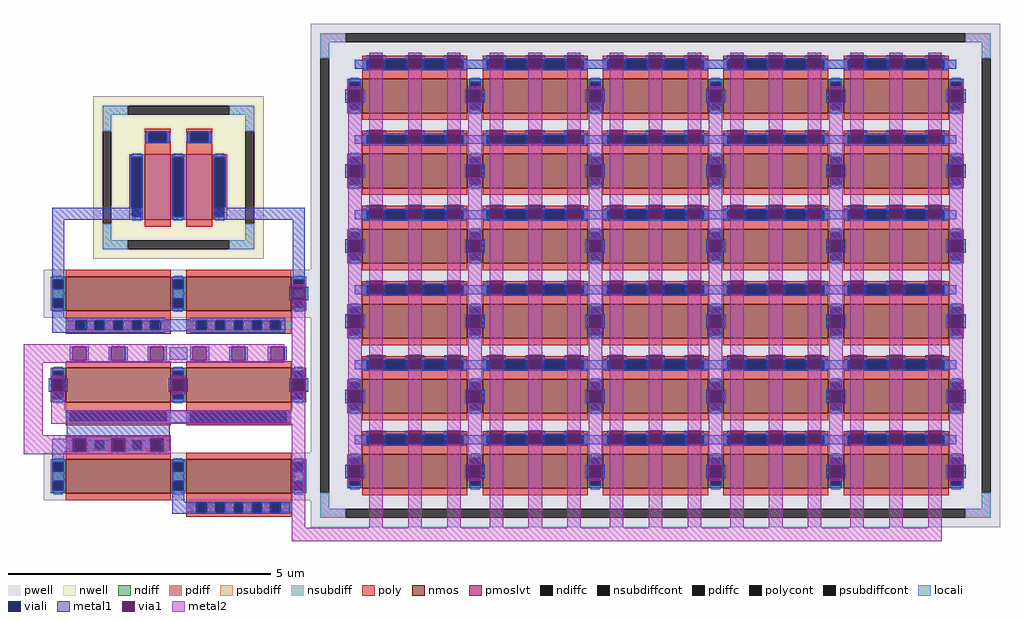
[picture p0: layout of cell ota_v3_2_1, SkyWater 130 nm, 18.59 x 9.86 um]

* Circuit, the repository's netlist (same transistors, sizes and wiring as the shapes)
* NGSPICE file created from ota_v3_2_1.ext - technology: sky130A

.subckt sky130_fd_pr__nfet_01v8_YCG9D7 D0 G0 S1 a_29_n153# VSUBS
X0 S1 G0 D0 VSUBS sky130_fd_pr__nfet_01v8 ad=0.09425 pd=0.94 as=0.1885 ps=1.88 w=0.65 l=2
X1 a_429_n65# a_29_n153# S1 VSUBS sky130_fd_pr__nfet_01v8 ad=0.1885 pd=1.88 as=0.09425 ps=0.94 w=0.65 l=2
.ends

.subckt sky130_fd_pr__nfet_01v8_NJGPHB D0 G0 S1 G1 a_429_n34# VSUBS
X0 a_429_n34# G1 S1 VSUBS sky130_fd_pr__nfet_01v8 ad=0.1885 pd=1.88 as=0.09425 ps=0.94 w=0.65 l=2
X1 S1 G0 D0 VSUBS sky130_fd_pr__nfet_01v8 ad=0.09425 pd=0.94 as=0.1885 ps=1.88 w=0.65 l=2
.ends

.subckt sky130_fd_pr__nfet_01v8_BTD5D5 D0 G0 S1 G1 a_429_n65# VSUBS
X0 S1 G0 D0 VSUBS sky130_fd_pr__nfet_01v8 ad=0.09425 pd=0.94 as=0.1885 ps=1.88 w=0.65 l=2
X1 a_429_n65# G1 S1 VSUBS sky130_fd_pr__nfet_01v8 ad=0.1885 pd=1.88 as=0.09425 ps=0.94 w=0.65 l=2
.ends

.subckt sky130_fd_pr__nfet_01v8_K8R7AN B D0_0 G0 D0_1 G1 D0_2 G2 D0_3 G3 D0_4 G4 D0_5
+ G5 S1_0 S1_1 S1_2 S1_3 S1_4 S1_5 D2_0 D2_1 D2_2 D2_3 D2_4 D2_5 S3_0 S3_1 S3_2 S3_3
+ S3_4 S3_5 D4_0 S4_0 D4_1 S4_1 D4_2 S4_2 D4_3 S4_3 D4_4 S4_4 D4_5 S4_5
X0 D2_5 G5 S1_5 B sky130_fd_pr__nfet_01v8 ad=0.09425 pd=0.94 as=0.09425 ps=0.94 w=0.65 l=2
X1 D2_2 G2 S1_2 B sky130_fd_pr__nfet_01v8 ad=0.09425 pd=0.94 as=0.09425 ps=0.94 w=0.65 l=2
X2 D2_1 G1 S1_1 B sky130_fd_pr__nfet_01v8 ad=0.09425 pd=0.94 as=0.09425 ps=0.94 w=0.65 l=2
X3 S1_5 G5 D0_5 B sky130_fd_pr__nfet_01v8 ad=0.09425 pd=0.94 as=0.1885 ps=1.88 w=0.65 l=2
X4 S3_4 G4 D2_4 B sky130_fd_pr__nfet_01v8 ad=0.09425 pd=0.94 as=0.09425 ps=0.94 w=0.65 l=2
X5 D2_0 G0 S1_0 B sky130_fd_pr__nfet_01v8 ad=0.09425 pd=0.94 as=0.09425 ps=0.94 w=0.65 l=2
X6 D2_4 G4 S1_4 B sky130_fd_pr__nfet_01v8 ad=0.09425 pd=0.94 as=0.09425 ps=0.94 w=0.65 l=2
X7 S3_3 G3 D2_3 B sky130_fd_pr__nfet_01v8 ad=0.09425 pd=0.94 as=0.09425 ps=0.94 w=0.65 l=2
X8 D4_5 G5 S3_5 B sky130_fd_pr__nfet_01v8 ad=0.09425 pd=0.94 as=0.09425 ps=0.94 w=0.65 l=2
X9 S4_2 G2 D4_2 B sky130_fd_pr__nfet_01v8 ad=0.1885 pd=1.88 as=0.09425 ps=0.94 w=0.65 l=2
X10 S1_4 G4 D0_4 B sky130_fd_pr__nfet_01v8 ad=0.09425 pd=0.94 as=0.1885 ps=1.88 w=0.65 l=2
X11 D2_3 G3 S1_3 B sky130_fd_pr__nfet_01v8 ad=0.09425 pd=0.94 as=0.09425 ps=0.94 w=0.65 l=2
X12 S4_1 G1 D4_1 B sky130_fd_pr__nfet_01v8 ad=0.1885 pd=1.88 as=0.09425 ps=0.94 w=0.65 l=2
X13 S4_0 G0 D4_0 B sky130_fd_pr__nfet_01v8 ad=0.1885 pd=1.88 as=0.09425 ps=0.94 w=0.65 l=2
X14 S4_5 G5 D4_5 B sky130_fd_pr__nfet_01v8 ad=0.1885 pd=1.88 as=0.09425 ps=0.94 w=0.65 l=2
X15 S3_2 G2 D2_2 B sky130_fd_pr__nfet_01v8 ad=0.09425 pd=0.94 as=0.09425 ps=0.94 w=0.65 l=2
X16 D4_4 G4 S3_4 B sky130_fd_pr__nfet_01v8 ad=0.09425 pd=0.94 as=0.09425 ps=0.94 w=0.65 l=2
X17 S1_2 G2 D0_2 B sky130_fd_pr__nfet_01v8 ad=0.09425 pd=0.94 as=0.1885 ps=1.88 w=0.65 l=2
X18 S3_1 G1 D2_1 B sky130_fd_pr__nfet_01v8 ad=0.09425 pd=0.94 as=0.09425 ps=0.94 w=0.65 l=2
X19 S3_0 G0 D2_0 B sky130_fd_pr__nfet_01v8 ad=0.09425 pd=0.94 as=0.09425 ps=0.94 w=0.65 l=2
X20 S1_1 G1 D0_1 B sky130_fd_pr__nfet_01v8 ad=0.09425 pd=0.94 as=0.1885 ps=1.88 w=0.65 l=2
X21 S1_0 G0 D0_0 B sky130_fd_pr__nfet_01v8 ad=0.09425 pd=0.94 as=0.1885 ps=1.88 w=0.65 l=2
X22 S4_4 G4 D4_4 B sky130_fd_pr__nfet_01v8 ad=0.1885 pd=1.88 as=0.09425 ps=0.94 w=0.65 l=2
X23 S3_5 G5 D2_5 B sky130_fd_pr__nfet_01v8 ad=0.09425 pd=0.94 as=0.09425 ps=0.94 w=0.65 l=2
X24 D4_3 G3 S3_3 B sky130_fd_pr__nfet_01v8 ad=0.09425 pd=0.94 as=0.09425 ps=0.94 w=0.65 l=2
X25 S1_3 G3 D0_3 B sky130_fd_pr__nfet_01v8 ad=0.09425 pd=0.94 as=0.1885 ps=1.88 w=0.65 l=2
X26 D4_2 G2 S3_2 B sky130_fd_pr__nfet_01v8 ad=0.09425 pd=0.94 as=0.09425 ps=0.94 w=0.65 l=2
X27 D4_1 G1 S3_1 B sky130_fd_pr__nfet_01v8 ad=0.09425 pd=0.94 as=0.09425 ps=0.94 w=0.65 l=2
X28 S4_3 G3 D4_3 B sky130_fd_pr__nfet_01v8 ad=0.1885 pd=1.88 as=0.09425 ps=0.94 w=0.65 l=2
X29 D4_0 G0 S3_0 B sky130_fd_pr__nfet_01v8 ad=0.09425 pd=0.94 as=0.09425 ps=0.94 w=0.65 l=2
.ends

.subckt sky130_fd_pr__pfet_01v8_lvt_YE4XRW B D0 G0 S1 G1 a_129_n161#
X0 a_129_n161# G1 S1 B sky130_fd_pr__pfet_01v8_lvt ad=0.3625 pd=3.08 as=0.18125 ps=1.54 w=1.25 l=0.5
X1 S1 G0 D0 B sky130_fd_pr__pfet_01v8_lvt ad=0.18125 pd=1.54 as=0.3625 ps=3.08 w=1.25 l=0.5
.ends

.subckt ota_v3_2_1
Xsky130_fd_pr__nfet_01v8_YCG9D7_0 sky130_fd_pr__nfet_01v8_YCG9D7_0/G0 sky130_fd_pr__nfet_01v8_YCG9D7_0/G0
+ sky130_fd_pr__nfet_01v8_YCG9D7_0/S1 sky130_fd_pr__nfet_01v8_YCG9D7_0/S1 VSUBS sky130_fd_pr__nfet_01v8_YCG9D7
Xsky130_fd_pr__nfet_01v8_NJGPHB_0 sky130_fd_pr__nfet_01v8_NJGPHB_0/G1 sky130_fd_pr__nfet_01v8_NJGPHB_0/G1
+ sky130_fd_pr__nfet_01v8_NJGPHB_0/S1 sky130_fd_pr__nfet_01v8_NJGPHB_0/G1 sky130_fd_pr__nfet_01v8_K8R7AN_0/G5
+ VSUBS sky130_fd_pr__nfet_01v8_NJGPHB
Xsky130_fd_pr__nfet_01v8_BTD5D5_0 sky130_fd_pr__nfet_01v8_K8R7AN_0/G5 sky130_fd_pr__nfet_01v8_YCG9D7_0/G0
+ sky130_fd_pr__nfet_01v8_BTD5D5_0/S1 sky130_fd_pr__nfet_01v8_YCG9D7_0/G0 sky130_fd_pr__nfet_01v8_K8R7AN_0/G5
+ VSUBS sky130_fd_pr__nfet_01v8_BTD5D5
Xsky130_fd_pr__nfet_01v8_K8R7AN_0 VSUBS sky130_fd_pr__nfet_01v8_K8R7AN_0/D0_5 sky130_fd_pr__nfet_01v8_K8R7AN_0/G5
+ sky130_fd_pr__nfet_01v8_K8R7AN_0/D0_5 sky130_fd_pr__nfet_01v8_K8R7AN_0/G5 sky130_fd_pr__nfet_01v8_K8R7AN_0/D0_5
+ sky130_fd_pr__nfet_01v8_K8R7AN_0/G5 sky130_fd_pr__nfet_01v8_K8R7AN_0/D0_5 sky130_fd_pr__nfet_01v8_K8R7AN_0/G5
+ sky130_fd_pr__nfet_01v8_K8R7AN_0/D0_5 sky130_fd_pr__nfet_01v8_K8R7AN_0/G5 sky130_fd_pr__nfet_01v8_K8R7AN_0/D0_5
+ sky130_fd_pr__nfet_01v8_K8R7AN_0/G5 sky130_fd_pr__nfet_01v8_K8R7AN_0/S1_5 sky130_fd_pr__nfet_01v8_K8R7AN_0/S1_5
+ sky130_fd_pr__nfet_01v8_K8R7AN_0/S1_5 sky130_fd_pr__nfet_01v8_K8R7AN_0/S1_5 sky130_fd_pr__nfet_01v8_K8R7AN_0/S1_5
+ sky130_fd_pr__nfet_01v8_K8R7AN_0/S1_5 sky130_fd_pr__nfet_01v8_K8R7AN_0/D2_5 sky130_fd_pr__nfet_01v8_K8R7AN_0/D2_5
+ sky130_fd_pr__nfet_01v8_K8R7AN_0/D2_5 sky130_fd_pr__nfet_01v8_K8R7AN_0/D2_5 sky130_fd_pr__nfet_01v8_K8R7AN_0/D2_5
+ sky130_fd_pr__nfet_01v8_K8R7AN_0/D2_5 sky130_fd_pr__nfet_01v8_K8R7AN_0/S3_5 sky130_fd_pr__nfet_01v8_K8R7AN_0/S3_5
+ sky130_fd_pr__nfet_01v8_K8R7AN_0/S3_5 sky130_fd_pr__nfet_01v8_K8R7AN_0/S3_5 sky130_fd_pr__nfet_01v8_K8R7AN_0/S3_5
+ sky130_fd_pr__nfet_01v8_K8R7AN_0/S3_5 sky130_fd_pr__nfet_01v8_K8R7AN_0/D4_5 sky130_fd_pr__nfet_01v8_K8R7AN_0/S4_5
+ sky130_fd_pr__nfet_01v8_K8R7AN_0/D4_5 sky130_fd_pr__nfet_01v8_K8R7AN_0/S4_5 sky130_fd_pr__nfet_01v8_K8R7AN_0/D4_5
+ sky130_fd_pr__nfet_01v8_K8R7AN_0/S4_5 sky130_fd_pr__nfet_01v8_K8R7AN_0/D4_5 sky130_fd_pr__nfet_01v8_K8R7AN_0/S4_5
+ sky130_fd_pr__nfet_01v8_K8R7AN_0/D4_5 sky130_fd_pr__nfet_01v8_K8R7AN_0/S4_5 sky130_fd_pr__nfet_01v8_K8R7AN_0/D4_5
+ sky130_fd_pr__nfet_01v8_K8R7AN_0/S4_5 sky130_fd_pr__nfet_01v8_K8R7AN
Xsky130_fd_pr__pfet_01v8_lvt_YE4XRW_0 sky130_fd_pr__pfet_01v8_lvt_YE4XRW_0/B sky130_fd_pr__nfet_01v8_NJGPHB_0/G1
+ sky130_fd_pr__pfet_01v8_lvt_YE4XRW_0/G0 sky130_fd_pr__pfet_01v8_lvt_YE4XRW_0/S1
+ sky130_fd_pr__pfet_01v8_lvt_YE4XRW_0/G1 sky130_fd_pr__nfet_01v8_K8R7AN_0/G5 sky130_fd_pr__pfet_01v8_lvt_YE4XRW
.ends

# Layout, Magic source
magic
tech sky130A
magscale 1 2
<< metal1 >>
rect 1316 688 1326 740
rect 1378 688 1388 740
rect 1464 688 1474 740
rect 1526 688 1536 740
rect 1612 688 1622 740
rect 1674 688 1684 740
rect 1774 688 1784 740
rect 1836 688 1846 740
rect 1922 688 1932 740
rect 1984 688 1994 740
rect 2070 688 2080 740
rect 2132 688 2142 740
rect 2232 688 2242 740
rect 2294 688 2304 740
rect 2380 688 2390 740
rect 2442 688 2452 740
rect 2528 688 2538 740
rect 2590 688 2600 740
rect 2690 688 2700 740
rect 2752 688 2762 740
rect 2838 688 2848 740
rect 2900 688 2910 740
rect 2986 688 2996 740
rect 3048 688 3058 740
rect 3148 688 3158 740
rect 3210 688 3220 740
rect 3296 688 3306 740
rect 3358 688 3368 740
rect 3444 688 3454 740
rect 3506 688 3516 740
rect 1235 559 1245 611
rect 1297 559 1307 611
rect 1693 559 1703 611
rect 1755 559 1765 611
rect 2151 559 2161 611
rect 2213 559 2223 611
rect 2609 559 2619 611
rect 2671 559 2681 611
rect 3067 559 3077 611
rect 3129 559 3139 611
rect 3525 559 3535 611
rect 3587 559 3597 611
rect 1316 402 1326 454
rect 1378 402 1388 454
rect 1464 402 1474 454
rect 1526 402 1536 454
rect 1612 402 1622 454
rect 1674 402 1684 454
rect 1774 402 1784 454
rect 1836 402 1846 454
rect 1922 402 1932 454
rect 1984 402 1994 454
rect 2070 402 2080 454
rect 2132 402 2142 454
rect 2232 402 2242 454
rect 2294 402 2304 454
rect 2380 402 2390 454
rect 2442 402 2452 454
rect 2528 402 2538 454
rect 2590 402 2600 454
rect 2690 402 2700 454
rect 2752 402 2762 454
rect 2838 402 2848 454
rect 2900 402 2910 454
rect 2986 402 2996 454
rect 3048 402 3058 454
rect 3148 402 3158 454
rect 3210 402 3220 454
rect 3296 402 3306 454
rect 3358 402 3368 454
rect 3444 402 3454 454
rect 3506 402 3516 454
rect 1235 273 1245 325
rect 1297 273 1307 325
rect 1693 273 1703 325
rect 1755 273 1765 325
rect 2151 273 2161 325
rect 2213 273 2223 325
rect 2609 273 2619 325
rect 2671 273 2681 325
rect 3067 273 3077 325
rect 3129 273 3139 325
rect 3525 273 3535 325
rect 3587 273 3597 325
rect 118 113 464 159
rect 734 113 1080 159
rect 1316 116 1326 168
rect 1378 116 1388 168
rect 1464 116 1474 168
rect 1526 116 1536 168
rect 1612 116 1622 168
rect 1674 116 1684 168
rect 1774 116 1784 168
rect 1836 116 1846 168
rect 1922 116 1932 168
rect 1984 116 1994 168
rect 2070 116 2080 168
rect 2132 116 2142 168
rect 2232 116 2242 168
rect 2294 116 2304 168
rect 2380 116 2390 168
rect 2442 116 2452 168
rect 2528 116 2538 168
rect 2590 116 2600 168
rect 2690 116 2700 168
rect 2752 116 2762 168
rect 2838 116 2848 168
rect 2900 116 2910 168
rect 2986 116 2996 168
rect 3048 116 3058 168
rect 3148 116 3158 168
rect 3210 116 3220 168
rect 3296 116 3306 168
rect 3358 116 3368 168
rect 3444 116 3454 168
rect 3506 116 3516 168
rect 118 -103 164 113
rect 1034 -103 1080 113
rect 1235 -13 1245 39
rect 1297 -13 1307 39
rect 1693 -13 1703 39
rect 1755 -13 1765 39
rect 2151 -13 2161 39
rect 2213 -13 2223 39
rect 2609 -13 2619 39
rect 2671 -13 2681 39
rect 3067 -13 3077 39
rect 3129 -13 3139 39
rect 3525 -13 3535 39
rect 3587 -13 3597 39
rect 1021 -194 1031 -142
rect 1083 -194 1093 -142
rect 1316 -170 1326 -118
rect 1378 -170 1388 -118
rect 1464 -170 1474 -118
rect 1526 -170 1536 -118
rect 1612 -170 1622 -118
rect 1674 -170 1684 -118
rect 1774 -170 1784 -118
rect 1836 -170 1846 -118
rect 1922 -170 1932 -118
rect 1984 -170 1994 -118
rect 2070 -170 2080 -118
rect 2132 -170 2142 -118
rect 2232 -170 2242 -118
rect 2294 -170 2304 -118
rect 2380 -170 2390 -118
rect 2442 -170 2452 -118
rect 2528 -170 2538 -118
rect 2590 -170 2600 -118
rect 2690 -170 2700 -118
rect 2752 -170 2762 -118
rect 2838 -170 2848 -118
rect 2900 -170 2910 -118
rect 2986 -170 2996 -118
rect 3048 -170 3058 -118
rect 3148 -170 3158 -118
rect 3210 -170 3220 -118
rect 3296 -170 3306 -118
rect 3358 -170 3368 -118
rect 3444 -170 3454 -118
rect 3506 -170 3516 -118
rect 118 -265 164 -233
rect 118 -311 209 -265
rect 566 -311 657 -265
rect 1235 -299 1245 -247
rect 1297 -299 1307 -247
rect 1693 -299 1703 -247
rect 1755 -299 1765 -247
rect 2151 -299 2161 -247
rect 2213 -299 2223 -247
rect 2609 -299 2619 -247
rect 2671 -299 2681 -247
rect 3067 -299 3077 -247
rect 3129 -299 3139 -247
rect 3525 -299 3535 -247
rect 3587 -299 3597 -247
rect 186 -422 196 -370
rect 248 -422 258 -370
rect 334 -422 344 -370
rect 396 -422 406 -370
rect 482 -422 492 -370
rect 544 -422 554 -370
rect 566 -419 633 -373
rect 644 -422 654 -370
rect 706 -422 716 -370
rect 792 -422 802 -370
rect 854 -422 864 -370
rect 940 -422 950 -370
rect 1002 -422 1012 -370
rect 1316 -455 1326 -403
rect 1378 -455 1388 -403
rect 1464 -455 1474 -403
rect 1526 -455 1536 -403
rect 1612 -455 1622 -403
rect 1674 -455 1684 -403
rect 1774 -455 1784 -403
rect 1836 -455 1846 -403
rect 1922 -455 1932 -403
rect 1984 -455 1994 -403
rect 2070 -455 2080 -403
rect 2132 -455 2142 -403
rect 2232 -455 2242 -403
rect 2294 -455 2304 -403
rect 2380 -455 2390 -403
rect 2442 -455 2452 -403
rect 2528 -455 2538 -403
rect 2590 -455 2600 -403
rect 2690 -455 2700 -403
rect 2752 -455 2762 -403
rect 2838 -455 2848 -403
rect 2900 -455 2910 -403
rect 2986 -455 2996 -403
rect 3048 -455 3058 -403
rect 3148 -455 3158 -403
rect 3210 -455 3220 -403
rect 3296 -455 3306 -403
rect 3358 -455 3368 -403
rect 3444 -455 3454 -403
rect 3506 -455 3516 -403
rect 105 -542 115 -490
rect 167 -542 177 -490
rect 563 -542 573 -490
rect 625 -542 635 -490
rect 1021 -542 1031 -490
rect 1083 -542 1093 -490
rect 576 -551 622 -547
rect 1235 -585 1245 -533
rect 1297 -585 1307 -533
rect 1693 -585 1703 -533
rect 1755 -585 1765 -533
rect 2151 -585 2161 -533
rect 2213 -585 2223 -533
rect 2609 -585 2619 -533
rect 2671 -585 2681 -533
rect 3067 -585 3077 -533
rect 3129 -585 3139 -533
rect 3525 -585 3535 -533
rect 3587 -585 3597 -533
rect 566 -658 633 -613
rect 174 -659 633 -658
rect 174 -718 566 -659
rect 174 -721 196 -718
rect 118 -770 196 -721
rect 248 -721 344 -718
rect 248 -770 258 -721
rect 334 -770 344 -721
rect 396 -721 492 -718
rect 396 -770 406 -721
rect 482 -770 492 -721
rect 544 -721 566 -718
rect 544 -770 554 -721
rect 1316 -742 1326 -690
rect 1378 -742 1388 -690
rect 1464 -742 1474 -690
rect 1526 -742 1536 -690
rect 1612 -742 1622 -690
rect 1674 -742 1684 -690
rect 1774 -742 1784 -690
rect 1836 -742 1846 -690
rect 1922 -742 1932 -690
rect 1984 -742 1994 -690
rect 2070 -742 2080 -690
rect 2132 -742 2142 -690
rect 2232 -742 2242 -690
rect 2294 -742 2304 -690
rect 2380 -742 2390 -690
rect 2442 -742 2452 -690
rect 2528 -742 2538 -690
rect 2590 -742 2600 -690
rect 2690 -742 2700 -690
rect 2752 -742 2762 -690
rect 2838 -742 2848 -690
rect 2900 -742 2910 -690
rect 2986 -742 2996 -690
rect 3048 -742 3058 -690
rect 3148 -742 3158 -690
rect 3210 -742 3220 -690
rect 3296 -742 3306 -690
rect 3358 -742 3368 -690
rect 3444 -742 3454 -690
rect 3506 -742 3516 -690
rect 118 -799 164 -770
rect 1235 -871 1245 -819
rect 1297 -871 1307 -819
rect 1693 -871 1703 -819
rect 1755 -871 1765 -819
rect 2151 -871 2161 -819
rect 2213 -871 2223 -819
rect 2609 -871 2619 -819
rect 2671 -871 2681 -819
rect 3067 -871 3077 -819
rect 3129 -871 3139 -819
rect 3525 -871 3535 -819
rect 3587 -871 3597 -819
rect 576 -961 622 -928
rect 576 -1007 656 -961
<< via1 >>
rect 1326 688 1378 740
rect 1474 688 1526 740
rect 1622 688 1674 740
rect 1784 688 1836 740
rect 1932 688 1984 740
rect 2080 688 2132 740
rect 2242 688 2294 740
rect 2390 688 2442 740
rect 2538 688 2590 740
rect 2700 688 2752 740
rect 2848 688 2900 740
rect 2996 688 3048 740
rect 3158 688 3210 740
rect 3306 688 3358 740
rect 3454 688 3506 740
rect 1245 559 1297 611
rect 1703 559 1755 611
rect 2161 559 2213 611
rect 2619 559 2671 611
rect 3077 559 3129 611
rect 3535 559 3587 611
rect 1326 402 1378 454
rect 1474 402 1526 454
rect 1622 402 1674 454
rect 1784 402 1836 454
rect 1932 402 1984 454
rect 2080 402 2132 454
rect 2242 402 2294 454
rect 2390 402 2442 454
rect 2538 402 2590 454
rect 2700 402 2752 454
rect 2848 402 2900 454
rect 2996 402 3048 454
rect 3158 402 3210 454
rect 3306 402 3358 454
rect 3454 402 3506 454
rect 1245 273 1297 325
rect 1703 273 1755 325
rect 2161 273 2213 325
rect 2619 273 2671 325
rect 3077 273 3129 325
rect 3535 273 3587 325
rect 1326 116 1378 168
rect 1474 116 1526 168
rect 1622 116 1674 168
rect 1784 116 1836 168
rect 1932 116 1984 168
rect 2080 116 2132 168
rect 2242 116 2294 168
rect 2390 116 2442 168
rect 2538 116 2590 168
rect 2700 116 2752 168
rect 2848 116 2900 168
rect 2996 116 3048 168
rect 3158 116 3210 168
rect 3306 116 3358 168
rect 3454 116 3506 168
rect 1245 -13 1297 39
rect 1703 -13 1755 39
rect 2161 -13 2213 39
rect 2619 -13 2671 39
rect 3077 -13 3129 39
rect 3535 -13 3587 39
rect 1031 -194 1083 -142
rect 1326 -170 1378 -118
rect 1474 -170 1526 -118
rect 1622 -170 1674 -118
rect 1784 -170 1836 -118
rect 1932 -170 1984 -118
rect 2080 -170 2132 -118
rect 2242 -170 2294 -118
rect 2390 -170 2442 -118
rect 2538 -170 2590 -118
rect 2700 -170 2752 -118
rect 2848 -170 2900 -118
rect 2996 -170 3048 -118
rect 3158 -170 3210 -118
rect 3306 -170 3358 -118
rect 3454 -170 3506 -118
rect 1245 -299 1297 -247
rect 1703 -299 1755 -247
rect 2161 -299 2213 -247
rect 2619 -299 2671 -247
rect 3077 -299 3129 -247
rect 3535 -299 3587 -247
rect 196 -422 248 -370
rect 344 -422 396 -370
rect 492 -422 544 -370
rect 654 -422 706 -370
rect 802 -422 854 -370
rect 950 -422 1002 -370
rect 1326 -455 1378 -403
rect 1474 -455 1526 -403
rect 1622 -455 1674 -403
rect 1784 -455 1836 -403
rect 1932 -455 1984 -403
rect 2080 -455 2132 -403
rect 2242 -455 2294 -403
rect 2390 -455 2442 -403
rect 2538 -455 2590 -403
rect 2700 -455 2752 -403
rect 2848 -455 2900 -403
rect 2996 -455 3048 -403
rect 3158 -455 3210 -403
rect 3306 -455 3358 -403
rect 3454 -455 3506 -403
rect 115 -542 167 -490
rect 573 -542 625 -490
rect 1031 -542 1083 -490
rect 1245 -585 1297 -533
rect 1703 -585 1755 -533
rect 2161 -585 2213 -533
rect 2619 -585 2671 -533
rect 3077 -585 3129 -533
rect 3535 -585 3587 -533
rect 196 -770 248 -718
rect 344 -770 396 -718
rect 492 -770 544 -718
rect 1326 -742 1378 -690
rect 1474 -742 1526 -690
rect 1622 -742 1674 -690
rect 1784 -742 1836 -690
rect 1932 -742 1984 -690
rect 2080 -742 2132 -690
rect 2242 -742 2294 -690
rect 2390 -742 2442 -690
rect 2538 -742 2590 -690
rect 2700 -742 2752 -690
rect 2848 -742 2900 -690
rect 2996 -742 3048 -690
rect 3158 -742 3210 -690
rect 3306 -742 3358 -690
rect 3454 -742 3506 -690
rect 1245 -871 1297 -819
rect 1703 -871 1755 -819
rect 2161 -871 2213 -819
rect 2619 -871 2671 -819
rect 3077 -871 3129 -819
rect 3535 -871 3587 -819
<< metal2 >>
rect 1326 740 1378 750
rect 1245 611 1297 621
rect 1245 325 1297 559
rect 1245 39 1297 273
rect 1031 -142 1083 -132
rect 11 -370 1002 -360
rect 11 -422 196 -370
rect 248 -422 344 -370
rect 396 -422 492 -370
rect 544 -422 654 -370
rect 706 -422 802 -370
rect 854 -422 950 -370
rect 11 -432 1002 -422
rect 11 -708 83 -432
rect 115 -490 167 -480
rect 115 -612 167 -542
rect 573 -490 625 -480
rect 573 -552 625 -542
rect 1031 -490 1083 -194
rect 1031 -612 1083 -542
rect 115 -664 1083 -612
rect 11 -718 570 -708
rect 11 -770 196 -718
rect 248 -770 344 -718
rect 396 -770 492 -718
rect 544 -770 570 -718
rect 11 -780 570 -770
rect 1031 -1059 1083 -664
rect 1245 -247 1297 -13
rect 1245 -533 1297 -299
rect 1245 -819 1297 -585
rect 1245 -881 1297 -871
rect 1326 454 1378 688
rect 1326 168 1378 402
rect 1326 -118 1378 116
rect 1326 -403 1378 -170
rect 1326 -690 1378 -455
rect 1326 -1059 1378 -742
rect 1474 740 1526 750
rect 1474 454 1526 688
rect 1474 168 1526 402
rect 1474 -118 1526 116
rect 1474 -403 1526 -170
rect 1474 -690 1526 -455
rect 1474 -1059 1526 -742
rect 1622 740 1674 750
rect 1622 454 1674 688
rect 1784 740 1836 750
rect 1622 168 1674 402
rect 1622 -118 1674 116
rect 1622 -403 1674 -170
rect 1622 -690 1674 -455
rect 1622 -1059 1674 -742
rect 1703 611 1755 621
rect 1703 325 1755 559
rect 1703 39 1755 273
rect 1703 -247 1755 -13
rect 1703 -533 1755 -299
rect 1703 -819 1755 -585
rect 1703 -881 1755 -871
rect 1784 454 1836 688
rect 1784 168 1836 402
rect 1784 -118 1836 116
rect 1784 -403 1836 -170
rect 1784 -690 1836 -455
rect 1784 -1059 1836 -742
rect 1932 740 1984 750
rect 1932 454 1984 688
rect 1932 168 1984 402
rect 1932 -118 1984 116
rect 1932 -403 1984 -170
rect 1932 -690 1984 -455
rect 1932 -1059 1984 -742
rect 2080 740 2132 750
rect 2080 454 2132 688
rect 2242 740 2294 750
rect 2080 168 2132 402
rect 2080 -118 2132 116
rect 2080 -403 2132 -170
rect 2080 -690 2132 -455
rect 2080 -1059 2132 -742
rect 2161 611 2213 621
rect 2161 325 2213 559
rect 2161 39 2213 273
rect 2161 -247 2213 -13
rect 2161 -533 2213 -299
rect 2161 -819 2213 -585
rect 2161 -881 2213 -871
rect 2242 454 2294 688
rect 2242 168 2294 402
rect 2242 -118 2294 116
rect 2242 -403 2294 -170
rect 2242 -690 2294 -455
rect 2242 -1059 2294 -742
rect 2390 740 2442 750
rect 2390 454 2442 688
rect 2390 168 2442 402
rect 2390 -118 2442 116
rect 2390 -403 2442 -170
rect 2390 -690 2442 -455
rect 2390 -1059 2442 -742
rect 2538 740 2590 750
rect 2538 454 2590 688
rect 2700 740 2752 750
rect 2538 168 2590 402
rect 2538 -118 2590 116
rect 2538 -403 2590 -170
rect 2538 -690 2590 -455
rect 2538 -1059 2590 -742
rect 2619 611 2671 621
rect 2619 325 2671 559
rect 2619 39 2671 273
rect 2619 -247 2671 -13
rect 2619 -533 2671 -299
rect 2619 -819 2671 -585
rect 2619 -881 2671 -871
rect 2700 454 2752 688
rect 2700 168 2752 402
rect 2700 -118 2752 116
rect 2700 -403 2752 -170
rect 2700 -690 2752 -455
rect 2700 -1059 2752 -742
rect 2848 740 2900 750
rect 2848 454 2900 688
rect 2848 168 2900 402
rect 2848 -118 2900 116
rect 2848 -403 2900 -170
rect 2848 -690 2900 -455
rect 2848 -1059 2900 -742
rect 2996 740 3048 750
rect 2996 454 3048 688
rect 3158 740 3210 750
rect 2996 168 3048 402
rect 2996 -118 3048 116
rect 2996 -403 3048 -170
rect 2996 -690 3048 -455
rect 2996 -1059 3048 -742
rect 3077 611 3129 621
rect 3077 325 3129 559
rect 3077 39 3129 273
rect 3077 -247 3129 -13
rect 3077 -533 3129 -299
rect 3077 -819 3129 -585
rect 3077 -881 3129 -871
rect 3158 454 3210 688
rect 3158 168 3210 402
rect 3158 -118 3210 116
rect 3158 -403 3210 -170
rect 3158 -690 3210 -455
rect 3158 -1059 3210 -742
rect 3306 740 3358 750
rect 3306 454 3358 688
rect 3306 168 3358 402
rect 3306 -118 3358 116
rect 3306 -403 3358 -170
rect 3306 -690 3358 -455
rect 3306 -1059 3358 -742
rect 3454 740 3506 750
rect 3454 454 3506 688
rect 3454 168 3506 402
rect 3454 -118 3506 116
rect 3454 -403 3506 -170
rect 3454 -690 3506 -455
rect 3454 -1059 3506 -742
rect 3535 611 3587 621
rect 3535 325 3587 559
rect 3535 39 3587 273
rect 3535 -247 3587 -13
rect 3535 -533 3587 -299
rect 3535 -819 3587 -585
rect 3535 -881 3587 -871
rect 1031 -1111 3506 -1059
use sky130_fd_pr__nfet_01v8_BTD5D5  sky130_fd_pr__nfet_01v8_BTD5D5_0
transform 1 0 599 0 1 -516
box -487 -153 487 91
use sky130_fd_pr__nfet_01v8_K8R7AN  sky130_fd_pr__nfet_01v8_K8R7AN_0
transform 1 0 2416 0 1 -99
box -1312 -959 1312 959
use sky130_fd_pr__nfet_01v8_NJGPHB  sky130_fd_pr__nfet_01v8_NJGPHB_0
transform 1 0 599 0 1 -199
box -487 -122 487 122
use sky130_fd_pr__nfet_01v8_YCG9D7  sky130_fd_pr__nfet_01v8_YCG9D7_0
transform 1 0 599 0 1 -864
box -487 -153 487 153
use sky130_fd_pr__pfet_01v8_lvt_YE4XRW  sky130_fd_pr__pfet_01v8_lvt_YE4XRW_0
transform 1 0 599 0 1 274
box -325 -309 325 309
<< end >>

# cell sky130_fd_pr__nfet_01v8_BTD5D5: kit device sky130_fd_pr__nfet_01v8, w .65 l 2 m 1 nf 2 diffcov 100 polycov 100 guard 0 glc 0 grc 0 gtc 0 gbc 0 tbcov 100 rlcov 100 topc 1 botc 1 poverlap 0 doverlap 1 lmin 0.15 wmin 0.42 class mosfet compatible {sky130_fd_pr__nfet_01v8 sky130_fd_pr__nfet_01v8_lvt sky130_fd_bs_flash__special_sonosfet_star sky130_fd_pr__nfet_g5v0d10v5 sky130_fd_pr__nfet_05v0_nvt sky130_fd_pr__nfet_03v3_nvt} full_metal 0 conn_gates 0 viasrc 100 viadrn 100 viagate 100 viagb 0 viagr 0 viagl 0 viagt 0 doports 1

# cell sky130_fd_pr__nfet_01v8_K8R7AN: kit device sky130_fd_pr__nfet_01v8, w .65 l 2 m 6 nf 5 diffcov 100 polycov 100 guard 1 glc 1 grc 1 gtc 1 gbc 1 tbcov 100 rlcov 100 topc 1 botc 0 poverlap 0 doverlap 1 lmin 0.15 wmin 0.42 class mosfet compatible {sky130_fd_pr__nfet_01v8 sky130_fd_pr__nfet_01v8_lvt sky130_fd_bs_flash__special_sonosfet_star sky130_fd_pr__nfet_g5v0d10v5 sky130_fd_pr__nfet_05v0_nvt sky130_fd_pr__nfet_03v3_nvt} full_metal 1 conn_gates 1 viasrc 100 viadrn 100 viagate 100 viagb 0 viagr 0 viagl 0 viagt 0 doports 1

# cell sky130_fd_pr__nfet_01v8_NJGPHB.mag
magic
tech sky130A
magscale 1 2
<< pwell >>
rect -513 -60 513 122
<< nmos >>
rect -429 -34 -29 96
rect 29 -34 429 96
<< ndiff >>
rect -487 82 -429 96
rect -487 48 -475 82
rect -441 48 -429 82
rect -487 14 -429 48
rect -487 -20 -475 14
rect -441 -20 -429 14
rect -487 -34 -429 -20
rect -29 82 29 96
rect -29 48 -17 82
rect 17 48 29 82
rect -29 14 29 48
rect -29 -20 -17 14
rect 17 -20 29 14
rect -29 -34 29 -20
rect 429 82 487 96
rect 429 48 441 82
rect 475 48 487 82
rect 429 14 487 48
rect 429 -20 441 14
rect 475 -20 487 14
rect 429 -34 487 -20
<< ndiffc >>
rect -475 48 -441 82
rect -475 -20 -441 14
rect -17 48 17 82
rect -17 -20 17 14
rect 441 48 475 82
rect 441 -20 475 14
<< poly >>
rect -429 96 -29 122
rect 29 96 429 122
rect -429 -72 -29 -34
rect -429 -106 -382 -72
rect -348 -106 -314 -72
rect -280 -106 -246 -72
rect -212 -106 -178 -72
rect -144 -106 -110 -72
rect -76 -106 -29 -72
rect -429 -122 -29 -106
rect 29 -72 429 -34
rect 29 -106 76 -72
rect 110 -106 144 -72
rect 178 -106 212 -72
rect 246 -106 280 -72
rect 314 -106 348 -72
rect 382 -106 429 -72
rect 29 -122 429 -106
<< polycont >>
rect -382 -106 -348 -72
rect -314 -106 -280 -72
rect -246 -106 -212 -72
rect -178 -106 -144 -72
rect -110 -106 -76 -72
rect 76 -106 110 -72
rect 144 -106 178 -72
rect 212 -106 246 -72
rect 280 -106 314 -72
rect 348 -106 382 -72
<< locali >>
rect -475 84 -441 100
rect -475 14 -441 48
rect -475 -38 -441 -22
rect -17 84 17 100
rect -17 14 17 48
rect -17 -38 17 -22
rect 441 84 475 100
rect 441 14 475 48
rect 441 -38 475 -22
rect -429 -106 -390 -72
rect -348 -106 -318 -72
rect -280 -106 -246 -72
rect -212 -106 -178 -72
rect -140 -106 -110 -72
rect -68 -106 -29 -72
rect 29 -106 68 -72
rect 110 -106 140 -72
rect 178 -106 212 -72
rect 246 -106 280 -72
rect 318 -106 348 -72
rect 390 -106 429 -72
<< viali >>
rect -475 82 -441 84
rect -475 50 -441 82
rect -475 -20 -441 12
rect -475 -22 -441 -20
rect -17 82 17 84
rect -17 50 17 82
rect -17 -20 17 12
rect -17 -22 17 -20
rect 441 82 475 84
rect 441 50 475 82
rect 441 -20 475 12
rect 441 -22 475 -20
rect -390 -106 -382 -72
rect -382 -106 -356 -72
rect -318 -106 -314 -72
rect -314 -106 -284 -72
rect -246 -106 -212 -72
rect -174 -106 -144 -72
rect -144 -106 -140 -72
rect -102 -106 -76 -72
rect -76 -106 -68 -72
rect 68 -106 76 -72
rect 76 -106 102 -72
rect 140 -106 144 -72
rect 144 -106 174 -72
rect 212 -106 246 -72
rect 284 -106 314 -72
rect 314 -106 318 -72
rect 356 -106 382 -72
rect 382 -106 390 -72
<< metal1 >>
rect -481 84 -435 96
rect -481 50 -475 84
rect -441 50 -435 84
rect -481 12 -435 50
rect -481 -22 -475 12
rect -441 -22 -435 12
rect -481 -34 -435 -22
rect -23 84 23 96
rect -23 50 -17 84
rect 17 50 23 84
rect -23 12 23 50
rect -23 -22 -17 12
rect 17 -22 23 12
rect -23 -34 23 -22
rect 435 84 481 96
rect 435 50 441 84
rect 475 50 481 84
rect 435 12 481 50
rect 435 -22 441 12
rect 475 -22 481 12
rect 435 -34 481 -22
rect -449 -66 -51 -60
rect -449 -72 -12 -66
rect -449 -74 -390 -72
rect -413 -106 -390 -74
rect -356 -106 -318 -72
rect -284 -106 -246 -72
rect -212 -106 -174 -72
rect -140 -106 -102 -72
rect -68 -106 -12 -72
rect -481 -112 -12 -106
rect 45 -72 407 -60
rect 45 -106 68 -72
rect 102 -106 140 -72
rect 174 -106 212 -72
rect 246 -106 284 -72
rect 318 -106 356 -72
rect 390 -106 407 -72
rect -481 -118 -51 -112
rect 45 -118 407 -106
<< labels >>
rlabel locali s -458 31 -458 31 4 D0
rlabel locali s -229 -89 -229 -89 4 G0
rlabel locali s 0 31 0 31 4 S1
rlabel locali s -229 -89 -229 -89 4 G1
rlabel locali s 229 -89 229 -89 4 G1
<< end >>

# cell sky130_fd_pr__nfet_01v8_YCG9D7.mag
magic
tech sky130A
magscale 1 2
<< pwell >>
rect -513 -91 513 91
<< nmos >>
rect -429 -65 -29 65
rect 29 -65 429 65
<< ndiff >>
rect -487 51 -429 65
rect -487 17 -475 51
rect -441 17 -429 51
rect -487 -17 -429 17
rect -487 -51 -475 -17
rect -441 -51 -429 -17
rect -487 -65 -429 -51
rect -29 51 29 65
rect -29 17 -17 51
rect 17 17 29 51
rect -29 -17 29 17
rect -29 -51 -17 -17
rect 17 -51 29 -17
rect -29 -65 29 -51
rect 429 51 487 65
rect 429 17 441 51
rect 475 17 487 51
rect 429 -17 487 17
rect 429 -51 441 -17
rect 475 -51 487 -17
rect 429 -65 487 -51
<< ndiffc >>
rect -475 17 -441 51
rect -475 -51 -441 -17
rect -17 17 17 51
rect -17 -51 17 -17
rect 441 17 475 51
rect 441 -51 475 -17
<< poly >>
rect -429 137 -29 153
rect -429 103 -382 137
rect -348 103 -314 137
rect -280 103 -246 137
rect -212 103 -178 137
rect -144 103 -110 137
rect -76 103 -29 137
rect -429 65 -29 103
rect 29 65 429 91
rect -429 -91 -29 -65
rect 29 -103 429 -65
rect 29 -137 76 -103
rect 110 -137 144 -103
rect 178 -137 212 -103
rect 246 -137 280 -103
rect 314 -137 348 -103
rect 382 -137 429 -103
rect 29 -153 429 -137
<< polycont >>
rect -382 103 -348 137
rect -314 103 -280 137
rect -246 103 -212 137
rect -178 103 -144 137
rect -110 103 -76 137
rect 76 -137 110 -103
rect 144 -137 178 -103
rect 212 -137 246 -103
rect 280 -137 314 -103
rect 348 -137 382 -103
<< locali >>
rect -429 103 -390 137
rect -348 103 -318 137
rect -280 103 -246 137
rect -212 103 -178 137
rect -140 103 -110 137
rect -68 103 -29 137
rect -475 53 -441 69
rect -475 -17 -441 17
rect -475 -69 -441 -53
rect -17 53 17 69
rect -17 -17 17 17
rect -17 -69 17 -53
rect 441 53 475 69
rect 441 -17 475 17
rect 441 -69 475 -53
rect 29 -137 68 -103
rect 110 -137 140 -103
rect 178 -137 212 -103
rect 246 -137 280 -103
rect 318 -137 348 -103
rect 390 -137 429 -103
<< viali >>
rect -390 103 -382 137
rect -382 103 -356 137
rect -318 103 -314 137
rect -314 103 -284 137
rect -246 103 -212 137
rect -174 103 -144 137
rect -144 103 -140 137
rect -102 103 -76 137
rect -76 103 -68 137
rect -475 51 -441 53
rect -475 19 -441 51
rect -475 -51 -441 -19
rect -475 -53 -441 -51
rect -17 51 17 53
rect -17 19 17 51
rect -17 -51 17 -19
rect -17 -53 17 -51
rect 441 51 475 53
rect 441 19 475 51
rect 441 -51 475 -19
rect 441 -53 475 -51
rect 68 -137 76 -103
rect 76 -137 102 -103
rect 140 -137 144 -103
rect 144 -137 174 -103
rect 212 -137 246 -103
rect 284 -137 314 -103
rect 314 -137 318 -103
rect 356 -137 382 -103
rect 382 -137 390 -103
<< metal1 >>
rect -425 137 -33 143
rect -425 103 -390 137
rect -356 103 -318 137
rect -284 103 -246 137
rect -212 103 -174 137
rect -140 103 -102 137
rect -68 103 -33 137
rect -425 97 -33 103
rect -481 53 -435 65
rect -481 19 -475 53
rect -441 19 -435 53
rect -481 -19 -435 19
rect -481 -53 -475 -19
rect -441 -53 -435 -19
rect -481 -65 -435 -53
rect -23 53 23 65
rect -23 19 -17 53
rect 17 19 23 53
rect -23 -19 23 19
rect -23 -53 -17 -19
rect 17 -53 23 -19
rect -23 -65 23 -53
rect 435 53 481 65
rect 435 19 441 53
rect 475 19 481 53
rect 435 -19 481 19
rect 435 -53 441 -19
rect 475 -53 481 -19
rect 435 -65 481 -53
rect 33 -103 425 -97
rect 33 -137 68 -103
rect 102 -137 140 -103
rect 174 -137 212 -103
rect 246 -137 284 -103
rect 318 -137 356 -103
rect 390 -137 425 -103
rect 33 -143 425 -137
<< labels >>
rlabel locali s -458 0 -458 0 4 D0
rlabel locali s -229 120 -229 120 4 G0
rlabel locali s 0 0 0 0 4 S1
<< end >>

# cell sky130_fd_pr__pfet_01v8_lvt_YE4XRW: kit device sky130_fd_pr__pfet_01v8_lvt, w 1.25 l .5 m 1 nf 2 diffcov 100 polycov 100 guard 1 glc 1 grc 1 gtc 1 gbc 1 tbcov 100 rlcov 100 topc 1 botc 0 poverlap 0 doverlap 1 lmin 0.35 wmin 0.42 class mosfet compatible {sky130_fd_pr__pfet_01v8 sky130_fd_pr__pfet_01v8_lvt sky130_fd_pr__pfet_01v8_hvt sky130_fd_pr__pfet_g5v0d10v5} full_metal 1 conn_gates 0 viasrc 100 viadrn 100 viagate 100 viagb 0 viagr 0 viagl 0 viagt 0 doports 1
